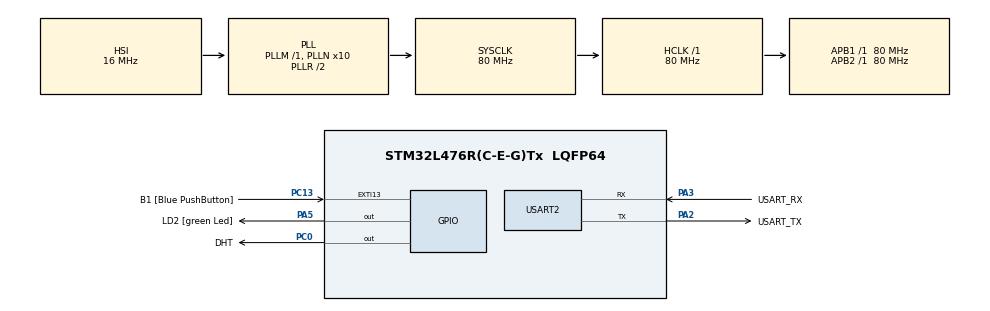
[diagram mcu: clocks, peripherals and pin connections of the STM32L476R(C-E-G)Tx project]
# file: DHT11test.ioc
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Mcu.Family=STM32L4
Mcu.Name=STM32L476R(C-E-G)Tx
Mcu.Package=LQFP64
NVIC.PriorityGroup=NVIC_PRIORITYGROUP_4
PA13\ (JTMS-SWDIO).GPIO_Label=TMS
PA13\ (JTMS-SWDIO).Mode=Serial_Wire
PA13\ (JTMS-SWDIO).Signal=SYS_JTMS-SWDIO
PA14\ (JTCK-SWCLK).GPIO_Label=TCK
PA14\ (JTCK-SWCLK).Mode=Serial_Wire
PA14\ (JTCK-SWCLK).Signal=SYS_JTCK-SWCLK
PA2.GPIO_Label=USART_TX
PA2.GPIO_Mode=GPIO_MODE_AF_PP
PA2.GPIO_PuPd=GPIO_NOPULL
PA2.GPIO_Speed=GPIO_SPEED_FREQ_VERY_HIGH
PA2.Mode=Asynchronous
PA2.Signal=USART2_TX
PA3.GPIO_Label=USART_RX
PA3.GPIO_Mode=GPIO_MODE_AF_PP
PA3.GPIO_PuPd=GPIO_NOPULL
PA3.GPIO_Speed=GPIO_SPEED_FREQ_VERY_HIGH
PA3.Mode=Asynchronous
PA3.Signal=USART2_RX
PA5.GPIO_Label=LD2 [green Led]
PA5.GPIO_ModeDefaultOutputPP=GPIO_MODE_OUTPUT_PP
PA5.GPIO_PuPd=GPIO_NOPULL
PA5.GPIO_Speed=GPIO_SPEED_FREQ_LOW
PA5.Signal=GPIO_Output
PB3\ (JTDO-TRACESWO).GPIO_Label=SWO
PB3\ (JTDO-TRACESWO).Signal=SYS_JTDO-SWO
PC0.GPIO_Label=DHT
PC0.Signal=GPIO_Output
PC13.GPIO_Label=B1 [Blue PushButton]
PC13.GPIO_ModeDefaultEXTI=GPIO_MODE_IT_FALLING
PC13.GPIO_PuPd=GPIO_NOPULL
PC13.Signal=GPXTI13
PC14-OSC32_IN\ (PC14).Mode=LSE-External-Oscillator
PC14-OSC32_IN\ (PC14).Signal=RCC_OSC32_IN
PC15-OSC32_OUT\ (PC15).Mode=LSE-External-Oscillator
PC15-OSC32_OUT\ (PC15).Signal=RCC_OSC32_OUT
PH0-OSC_IN\ (PH0).Signal=RCC_OSC_IN
PH1-OSC_OUT\ (PH1).Signal=RCC_OSC_OUT
ProjectManager.HeapSize=0x200
ProjectManager.StackSize=0x400
ProjectManager.TargetToolchain=STM32CubeIDE
RCC.ADCFreq_Value=64000000
RCC.AHBFreq_Value=80000000
RCC.APB1Freq_Value=80000000
RCC.APB1TimFreq_Value=80000000
RCC.APB2Freq_Value=80000000
RCC.APB2TimFreq_Value=80000000
RCC.CortexFreq_Value=80000000
RCC.HCLKFreq_Value=80000000
RCC.HSE_VALUE=8000000
RCC.HSI_VALUE=16000000
RCC.MSI_VALUE=4000000
RCC.PLLN=10
RCC.PLLSourceVirtual=RCC_PLLSOURCE_HSI
RCC.PREFETCH_ENABLE=1
RCC.SYSCLKFreq_VALUE=80000000
RCC.SYSCLKSource=RCC_SYSCLKSOURCE_PLLCLK
RCC.USBFreq_Value=64000000
RCC.VCOOutputFreq_Value=160000000
TIM1.Prescaler=79
USART2.VirtualMode-Asynchronous=VM_ASYNC
VP_TIM1_VS_ClockSourceINT.Mode=Internal
board=NUCLEO-L476RG

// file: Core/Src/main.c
/* USER CODE BEGIN Header */
/**
  ******************************************************************************
  * @file           : main.c
  * @brief          : Main program body
  ******************************************************************************
  * @attention
  *
  * Copyright (c) 2024 STMicroelectronics.
  * All rights reserved.
  *
  * This software is licensed under terms that can be found in the LICENSE file
  * in the root directory of this software component.
  * If no LICENSE file comes with this software, it is provided AS-IS.
  *
  ******************************************************************************
  */
/* USER CODE END Header */
#include "main.h"

/* USER CODE BEGIN Includes */
#include  <stdio.h>
/* USER CODE END Includes */

TIM_HandleTypeDef htim1;

UART_HandleTypeDef huart2;

void SystemClock_Config(void);
static void MX_GPIO_Init(void);
static void MX_USART2_UART_Init(void);
static void MX_TIM1_Init(void);

/* USER CODE BEGIN 0 */
#define DHT11_PORT DHT_GPIO_Port
#define DHT11_PIN DHT_Pin

uint8_t RHI, RHD, TCI, TCD, SUM;
uint32_t pMillis, cMillis;
float tCelsius = 0;
float tFahrenheit = 0;
float RH = 0;

void microDelay (uint16_t delay)
{
  __HAL_TIM_SET_COUNTER(&htim1, 0);
  while (__HAL_TIM_GET_COUNTER(&htim1) < delay);
}

uint8_t DHT11_Start (void)
{
  uint8_t Response = 0;
  GPIO_InitTypeDef GPIO_InitStructPrivate = {0};
  GPIO_InitStructPrivate.Pin = DHT11_PIN;
  GPIO_InitStructPrivate.Mode = GPIO_MODE_OUTPUT_PP;
  GPIO_InitStructPrivate.Speed = GPIO_SPEED_FREQ_LOW;
  GPIO_InitStructPrivate.Pull = GPIO_NOPULL;
  HAL_GPIO_Init(DHT11_PORT, &GPIO_InitStructPrivate); // set the pin as output
  HAL_GPIO_WritePin (DHT11_PORT, DHT11_PIN, 0);   // pull the pin low
  HAL_Delay(20);   // wait for 20ms
  HAL_GPIO_WritePin (DHT11_PORT, DHT11_PIN, 1);   // pull the pin high
  microDelay (30);   // wait for 30us
  GPIO_InitStructPrivate.Mode = GPIO_MODE_INPUT;
  GPIO_InitStructPrivate.Pull = GPIO_PULLUP;
  HAL_GPIO_Init(DHT11_PORT, &GPIO_InitStructPrivate); // set the pin as input
  microDelay (40);
  if (!(HAL_GPIO_ReadPin (DHT11_PORT, DHT11_PIN)))
  {
    microDelay (80);
    if ((HAL_GPIO_ReadPin (DHT11_PORT, DHT11_PIN))) Response = 1;
  }
  pMillis = HAL_GetTick();
  cMillis = HAL_GetTick();
  while ((HAL_GPIO_ReadPin (DHT11_PORT, DHT11_PIN)) && pMillis + 2 > cMillis)
  {
    cMillis = HAL_GetTick();
  }
  return Response;
}

uint8_t DHT11_Read (void)
{
  uint8_t a,b;
  for (a=0;a<8;a++)
  {
    pMillis = HAL_GetTick();
    cMillis = HAL_GetTick();
    while (!(HAL_GPIO_ReadPin (DHT11_PORT, DHT11_PIN)) && pMillis + 2 > cMillis)
    {  // wait for the pin to go high
      cMillis = HAL_GetTick();
    }
    microDelay (40);   // wait for 40 us
    if (!(HAL_GPIO_ReadPin (DHT11_PORT, DHT11_PIN)))   // if the pin is low
      b&= ~(1<<(7-a));
    else
      b|= (1<<(7-a));
    pMillis = HAL_GetTick();
    cMillis = HAL_GetTick();
    while ((HAL_GPIO_ReadPin (DHT11_PORT, DHT11_PIN)) && pMillis + 2 > cMillis)
    {  // wait for the pin to go low
      cMillis = HAL_GetTick();
    }
  }
  return b;
}

int __io_putchar(int ch)
{
    if (ch == '\n') {
        uint8_t ch2 = '\r';
        HAL_UART_Transmit(&huart2, &ch2, 1, HAL_MAX_DELAY);
    }

    HAL_UART_Transmit(&huart2, (uint8_t*)&ch, 1, HAL_MAX_DELAY);
    return 1;
}

/* USER CODE END 0 */

int main(void)
{

  /* MCU Configuration--------------------------------------------------------*/

  /* Reset of all peripherals, Initializes the Flash interface and the Systick. */
  HAL_Init();

  /* Configure the system clock */
  SystemClock_Config();

  /* Initialize all configured peripherals */
  MX_GPIO_Init();
  MX_USART2_UART_Init();
  MX_TIM1_Init();
  /* USER CODE BEGIN 2 */
  printf("0\n");
  HAL_TIM_Base_Start(&htim1);
  printf("1\n");
  /* USER CODE END 2 */

  /* Infinite loop */
  /* USER CODE BEGIN WHILE */
  while (1)
      {

        if(DHT11_Start())
        {

          RHI = DHT11_Read(); // Relative humidity integral
          RHD = DHT11_Read(); // Relative humidity decimal
          TCI = DHT11_Read(); // Celsius integral
          TCD = DHT11_Read(); // Celsius decimal
          SUM = DHT11_Read(); // Check sum
          printf("temp: %d\n", RHI);

          if (RHI + RHD + TCI + TCD == SUM)
          {
            // Can use RHI and TCI for any purposes if whole number only needed
            tCelsius = (float)TCI + (float)(TCD/10.0);
            tFahrenheit = tCelsius * 9/5 + 32;
            RH = (float)RHI + (float)(RHD/10.0);
            // Can use tCelsius, tFahrenheit and RH for any purposes
          }
          printf("temp: %.1f*C\n", tCelsius);
          printf("RH: %.1f%%\n", RH );

        }
        else {
      	  printf("dht error\n");
        }
        HAL_Delay(2000);
    /* USER CODE END WHILE */

  }
}

void SystemClock_Config(void)
{
  RCC_OscInitTypeDef RCC_OscInitStruct = {0};
  RCC_ClkInitTypeDef RCC_ClkInitStruct = {0};

  /** Configure the main internal regulator output voltage
  */
  if (HAL_PWREx_ControlVoltageScaling(PWR_REGULATOR_VOLTAGE_SCALE1) != HAL_OK)
  {
    Error_Handler();
  }

  /** Initializes the RCC Oscillators according to the specified parameters
  * in the RCC_OscInitTypeDef structure.
  */
  RCC_OscInitStruct.OscillatorType = RCC_OSCILLATORTYPE_HSI;
  RCC_OscInitStruct.HSIState = RCC_HSI_ON;
  RCC_OscInitStruct.HSICalibrationValue = RCC_HSICALIBRATION_DEFAULT;
  RCC_OscInitStruct.PLL.PLLState = RCC_PLL_ON;
  RCC_OscInitStruct.PLL.PLLSource = RCC_PLLSOURCE_HSI;
  RCC_OscInitStruct.PLL.PLLM = 1;
  RCC_OscInitStruct.PLL.PLLN = 10;
  RCC_OscInitStruct.PLL.PLLP = RCC_PLLP_DIV7;
  RCC_OscInitStruct.PLL.PLLQ = RCC_PLLQ_DIV2;
  RCC_OscInitStruct.PLL.PLLR = RCC_PLLR_DIV2;
  if (HAL_RCC_OscConfig(&RCC_OscInitStruct) != HAL_OK)
  {
    Error_Handler();
  }

  /** Initializes the CPU, AHB and APB buses clocks
  */
  RCC_ClkInitStruct.ClockType = RCC_CLOCKTYPE_HCLK|RCC_CLOCKTYPE_SYSCLK
                              |RCC_CLOCKTYPE_PCLK1|RCC_CLOCKTYPE_PCLK2;
  RCC_ClkInitStruct.SYSCLKSource = RCC_SYSCLKSOURCE_PLLCLK;
  RCC_ClkInitStruct.AHBCLKDivider = RCC_SYSCLK_DIV1;
  RCC_ClkInitStruct.APB1CLKDivider = RCC_HCLK_DIV1;
  RCC_ClkInitStruct.APB2CLKDivider = RCC_HCLK_DIV1;

  if (HAL_RCC_ClockConfig(&RCC_ClkInitStruct, FLASH_LATENCY_4) != HAL_OK)
  {
    Error_Handler();
  }
}

static void MX_TIM1_Init(void)
{

  TIM_ClockConfigTypeDef sClockSourceConfig = {0};
  TIM_MasterConfigTypeDef sMasterConfig = {0};

  htim1.Instance = TIM1;
  htim1.Init.Prescaler = 79;
  htim1.Init.CounterMode = TIM_COUNTERMODE_UP;
  htim1.Init.Period = 65535;
  htim1.Init.ClockDivision = TIM_CLOCKDIVISION_DIV1;
  htim1.Init.RepetitionCounter = 0;
  htim1.Init.AutoReloadPreload = TIM_AUTORELOAD_PRELOAD_DISABLE;
  if (HAL_TIM_Base_Init(&htim1) != HAL_OK)
  {
    Error_Handler();
  }
  sClockSourceConfig.ClockSource = TIM_CLOCKSOURCE_INTERNAL;
  if (HAL_TIM_ConfigClockSource(&htim1, &sClockSourceConfig) != HAL_OK)
  {
    Error_Handler();
  }
  sMasterConfig.MasterOutputTrigger = TIM_TRGO_RESET;
  sMasterConfig.MasterOutputTrigger2 = TIM_TRGO2_RESET;
  sMasterConfig.MasterSlaveMode = TIM_MASTERSLAVEMODE_DISABLE;
  if (HAL_TIMEx_MasterConfigSynchronization(&htim1, &sMasterConfig) != HAL_OK)
  {
    Error_Handler();
  }

}

static void MX_USART2_UART_Init(void)
{

  huart2.Instance = USART2;
  huart2.Init.BaudRate = 115200;
  huart2.Init.WordLength = UART_WORDLENGTH_8B;
  huart2.Init.StopBits = UART_STOPBITS_1;
  huart2.Init.Parity = UART_PARITY_NONE;
  huart2.Init.Mode = UART_MODE_TX_RX;
  huart2.Init.HwFlowCtl = UART_HWCONTROL_NONE;
  huart2.Init.OverSampling = UART_OVERSAMPLING_16;
  huart2.Init.OneBitSampling = UART_ONE_BIT_SAMPLE_DISABLE;
  huart2.AdvancedInit.AdvFeatureInit = UART_ADVFEATURE_NO_INIT;
  if (HAL_UART_Init(&huart2) != HAL_OK)
  {
    Error_Handler();
  }

}

static void MX_GPIO_Init(void)
{
  GPIO_InitTypeDef GPIO_InitStruct = {0};

  /* GPIO Ports Clock Enable */
  __HAL_RCC_GPIOC_CLK_ENABLE();
  __HAL_RCC_GPIOH_CLK_ENABLE();
  __HAL_RCC_GPIOA_CLK_ENABLE();
  __HAL_RCC_GPIOB_CLK_ENABLE();

  /*Configure GPIO pin Output Level */
  HAL_GPIO_WritePin(DHT_GPIO_Port, DHT_Pin, GPIO_PIN_RESET);

  /*Configure GPIO pin Output Level */
  HAL_GPIO_WritePin(LD2_GPIO_Port, LD2_Pin, GPIO_PIN_RESET);

  /*Configure GPIO pin : B1_Pin */
  GPIO_InitStruct.Pin = B1_Pin;
  GPIO_InitStruct.Mode = GPIO_MODE_IT_FALLING;
  GPIO_InitStruct.Pull = GPIO_NOPULL;
  HAL_GPIO_Init(B1_GPIO_Port, &GPIO_InitStruct);

  /*Configure GPIO pin : DHT_Pin */
  GPIO_InitStruct.Pin = DHT_Pin;
  GPIO_InitStruct.Mode = GPIO_MODE_OUTPUT_PP;
  GPIO_InitStruct.Pull = GPIO_NOPULL;
  GPIO_InitStruct.Speed = GPIO_SPEED_FREQ_LOW;
  HAL_GPIO_Init(DHT_GPIO_Port, &GPIO_InitStruct);

  /*Configure GPIO pin : LD2_Pin */
  GPIO_InitStruct.Pin = LD2_Pin;
  GPIO_InitStruct.Mode = GPIO_MODE_OUTPUT_PP;
  GPIO_InitStruct.Pull = GPIO_NOPULL;
  GPIO_InitStruct.Speed = GPIO_SPEED_FREQ_LOW;
  HAL_GPIO_Init(LD2_GPIO_Port, &GPIO_InitStruct);

}

void Error_Handler(void)
{
  __disable_irq();
  while (1)
  {
  }
}
